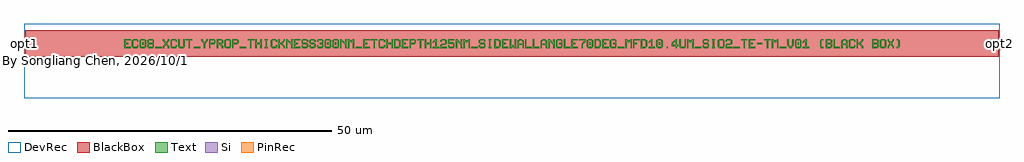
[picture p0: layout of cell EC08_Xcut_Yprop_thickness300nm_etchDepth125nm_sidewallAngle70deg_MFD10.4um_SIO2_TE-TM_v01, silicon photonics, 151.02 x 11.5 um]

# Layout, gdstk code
import gdstk
lib = gdstk.Library(unit=1e-6, precision=1e-10)
def R(c, l, rs):  # rectangles x0, y0, x1, y1
    for r in rs: c.add(gdstk.rectangle(r[:2], r[2:], *l))
def A(c, l, x, y, w, h, nx, ny, dx, dy):  # array of equal rectangles
    R(c, l, [(x+i*dx, y+j*dy, x+i*dx+w, y+j*dy+h) for i in range(nx) for j in range(ny)])
def P(c, l, *ps):  # polygons
    for p in ps: c.add(gdstk.Polygon(p, *l))
Si = (1, 0)
PinRec = (1, 10)
Text = (10, 0)
DevRec = (68, 0)
BlackBox = (998, 0)

text = lib.new_cell('TEXT')
A(text, Text, 17.895, 0, 0.994, 0.199, 3, 1, 17.895, 0)
R(text, Text, [(4.772,0,5.766,0.199), (10.737,0,11.731,0.199), (76.352,0,77.346,0.199), (83.908,0,84.106,0.199), (88.282,0,89.276,0.199), (94.247,0,95.241,0.199), (101.405,0,102.399,0.199), (2.784,0.497,2.982,0.895), (31.416,0.497,31.614,0.895), (32.609,0.497,32.807,0.895), (71.978,0.497,72.176,0.895), (82.715,0.497,82.913,0.895), (104.189,0.497,104.387,0.895), (97.925,0.596,98.721,0.795)])
P(text, Text, [(59.65,0),(59.65,1.392),(59.849,1.392),(59.849,0.298),(59.948,0.298),(60.147,0.497),(60.346,0.298),(60.445,0.298),(60.445,1.392),(60.644,1.392),(60.644,0),(60.346,0),(60.147,0.199),(59.948,0)],
  [(60.843,0),(60.843,1.093),(61.141,1.392),(61.539,1.392),(61.738,1.193),(61.241,1.193),(61.042,0.994),(61.042,0.696),(61.638,0.696),(61.638,0.994),(61.439,1.193),(61.738,1.193),(61.837,1.093),(61.837,0),(61.638,0),(61.638,0.497),(61.042,0.497),(61.042,0)],
  [(62.036,0),(62.036,1.392),(62.235,1.392),(62.235,0.199),(63.03,0.199),(63.03,0)],
  [(63.229,0),(63.229,1.392),(63.428,1.392),(63.428,0.199),(64.223,0.199),(64.223,0)],
  [(64.422,0),(64.422,1.093),(64.72,1.392),(65.118,1.392),(65.317,1.193),(64.82,1.193),(64.621,0.994),(64.621,0.696),(65.217,0.696),(65.217,0.994),(65.018,1.193),(65.317,1.193),(65.416,1.093),(65.416,0),(65.217,0),(65.217,0.497),(64.621,0.497),(64.621,0)],
  [(65.615,0),(65.615,1.392),(65.814,1.392),(66.311,0.895),(66.41,0.895),(66.41,1.392),(66.609,1.392),(66.609,0),(66.41,0),(66.41,0.497),(65.913,0.994),(65.814,0.994),(65.814,0)],
  [(67.007,0),(66.808,0.199),(66.808,1.193),(67.007,1.392),(67.603,1.392),(67.802,1.193),(67.802,0.994),(67.603,0.994),(67.603,1.093),(67.504,1.193),(67.106,1.193),(67.007,1.093),(67.007,0.298),(67.106,0.199),(67.504,0.199),(67.603,0.298),(67.603,0.596),(67.305,0.596),(67.305,0.795),(67.802,0.795),(67.802,0.199),(67.603,0)],
  [(68.001,0),(68.001,1.392),(68.2,1.392),(68.2,0.199),(68.995,0.199),(68.995,0)],
  [(69.194,0),(69.194,1.392),(70.188,1.392),(70.188,1.193),(69.393,1.193),(69.393,0.795),(69.79,0.795),(69.79,0.596),(69.393,0.596),(69.393,0.199),(70.188,0.199),(70.188,0)],
  [(70.785,0),(70.785,0.696),(71.182,1.093),(71.182,1.193),(70.387,1.193),(70.387,1.392),(71.381,1.392),(71.381,0.994),(70.983,0.596),(70.983,0)],
  [(71.779,0),(71.58,0.199),(71.58,1.193),(71.779,1.392),(72.375,1.392),(72.574,1.193),(71.878,1.193),(71.779,1.093),(71.779,0.298),(71.878,0.199),(72.276,0.199),(72.375,0.298),(72.375,1.093),(72.276,1.193),(72.574,1.193),(72.574,0.199),(72.375,0)],
  [(72.773,0),(72.773,1.392),(73.469,1.392),(73.668,1.193),(72.972,1.193),(72.972,0.199),(73.369,0.199),(73.568,0.398),(73.568,0.994),(73.369,1.193),(73.668,1.193),(73.767,1.093),(73.767,0.298),(73.469,0)],
  [(73.966,0),(73.966,1.392),(74.96,1.392),(74.96,1.193),(74.165,1.193),(74.165,0.795),(74.562,0.795),(74.562,0.596),(74.165,0.596),(74.165,0.199),(74.96,0.199),(74.96,0)],
  [(75.358,0),(75.159,0.199),(75.159,1.193),(75.358,1.392),(75.954,1.392),(76.153,1.193),(76.153,0.994),(75.954,0.994),(75.954,1.093),(75.855,1.193),(75.457,1.193),(75.358,1.093),(75.358,0.298),(75.457,0.199),(75.855,0.199),(75.954,0.298),(75.954,0.596),(75.656,0.596),(75.656,0.795),(76.153,0.795),(76.153,0.199),(75.954,0)],
  [(77.545,0),(77.545,1.392),(77.744,1.392),(77.943,1.193),(78.141,1.193),(78.34,1.392),(78.539,1.392),(78.539,0),(78.34,0),(78.34,0.994),(78.241,0.994),(78.042,0.795),(77.843,0.994),(77.744,0.994),(77.744,0)],
  [(78.738,0),(78.738,1.392),(79.732,1.392),(79.732,1.193),(78.937,1.193),(78.937,0.795),(79.334,0.795),(79.334,0.596),(78.937,0.596),(78.937,0)],
  [(79.931,0),(79.931,1.392),(80.627,1.392),(80.826,1.193),(80.13,1.193),(80.13,0.199),(80.527,0.199),(80.726,0.398),(80.726,0.994),(80.527,1.193),(80.826,1.193),(80.925,1.093),(80.925,0.298),(80.627,0)],
  [(81.124,0),(81.124,0.199),(81.522,0.199),(81.522,0.994),(81.422,0.994),(81.223,0.795),(81.124,0.795),(81.124,0.994),(81.522,1.392),(81.72,1.392),(81.72,0.199),(82.118,0.199),(82.118,0)],
  [(82.516,0),(82.317,0.199),(82.317,1.193),(82.516,1.392),(83.112,1.392),(83.311,1.193),(82.615,1.193),(82.516,1.093),(82.516,0.298),(82.615,0.199),(83.013,0.199),(83.112,0.298),(83.112,1.093),(83.013,1.193),(83.311,1.193),(83.311,0.199),(83.112,0)],
  [(85.299,0),(85.299,0.298),(84.703,0.298),(84.703,0.497),(85.299,0.497),(85.299,0.994),(85.2,0.994),(84.902,0.696),(84.902,0.497),(84.703,0.497),(84.703,0.795),(85.299,1.392),(85.498,1.392),(85.498,0.497),(85.697,0.497),(85.697,0.298),(85.498,0.298),(85.498,0)],
  [(86.095,0),(85.896,0.199),(85.896,1.392),(86.095,1.392),(86.095,0.298),(86.194,0.199),(86.592,0.199),(86.691,0.298),(86.691,1.392),(86.89,1.392),(86.89,0.199),(86.691,0)],
  [(87.089,0),(87.089,1.392),(87.288,1.392),(87.487,1.193),(87.685,1.193),(87.884,1.392),(88.083,1.392),(88.083,0),(87.884,0),(87.884,0.994),(87.785,0.994),(87.586,0.795),(87.387,0.994),(87.288,0.994),(87.288,0)],
  [(89.674,0),(89.475,0.199),(89.475,0.398),(89.674,0.398),(89.674,0.298),(89.773,0.199),(90.171,0.199),(90.27,0.298),(90.27,0.497),(90.171,0.596),(89.674,0.596),(89.475,0.795),(89.475,1.193),(89.674,1.392),(90.27,1.392),(90.469,1.193),(90.469,0.994),(90.27,0.994),(90.27,1.093),(90.171,1.193),(89.773,1.193),(89.674,1.093),(89.674,0.895),(89.773,0.795),(90.27,0.795),(90.469,0.596),(90.469,0.199),(90.27,0)],
  [(90.966,0),(90.966,0.199),(91.066,0.199),(91.066,1.193),(90.966,1.193),(90.966,1.392),(91.364,1.392),(91.364,1.193),(91.264,1.193),(91.264,0.199),(91.364,0.199),(91.364,0)],
  [(92.06,0),(91.861,0.199),(91.861,1.193),(92.06,1.392),(92.656,1.392),(92.855,1.193),(92.855,0.696),(92.656,0.696),(92.656,1.093),(92.557,1.193),(92.159,1.193),(92.06,1.093),(92.06,0.298),(92.159,0.199),(92.557,0.199),(92.656,0.298),(92.656,0.696),(92.855,0.696),(92.855,0.199),(92.656,0)],
  [(93.054,0),(93.054,0.497),(93.253,0.696),(93.75,0.696),(93.849,0.795),(93.849,1.093),(93.75,1.193),(93.352,1.193),(93.253,1.093),(93.253,0.994),(93.054,0.994),(93.054,1.193),(93.253,1.392),(93.849,1.392),(94.048,1.193),(94.048,0.696),(93.849,0.497),(93.352,0.497),(93.253,0.398),(93.253,0.199),(94.048,0.199),(94.048,0)],
  [(95.838,0),(95.838,1.193),(95.44,1.193),(95.44,1.392),(96.434,1.392),(96.434,1.193),(96.036,1.193),(96.036,0)],
  [(96.633,0),(96.633,1.392),(97.627,1.392),(97.627,1.193),(96.832,1.193),(96.832,0.795),(97.229,0.795),(97.229,0.596),(96.832,0.596),(96.832,0.199),(97.627,0.199),(97.627,0)],
  [(99.417,0),(99.417,1.193),(99.019,1.193),(99.019,1.392),(100.013,1.392),(100.013,1.193),(99.615,1.193),(99.615,0)],
  [(100.212,0),(100.212,1.392),(100.411,1.392),(100.61,1.193),(100.808,1.193),(101.007,1.392),(101.206,1.392),(101.206,0),(101.007,0),(101.007,0.994),(100.908,0.994),(100.709,0.795),(100.51,0.994),(100.411,0.994),(100.411,0)],
  [(102.996,0),(102.598,0.398),(102.598,1.392),(102.797,1.392),(102.797,0.497),(103.095,0.199),(103.393,0.497),(103.393,1.392),(103.592,1.392),(103.592,0.398),(103.194,0)],
  [(103.99,0),(103.791,0.199),(103.791,1.193),(103.99,1.392),(104.586,1.392),(104.785,1.193),(104.089,1.193),(103.99,1.093),(103.99,0.298),(104.089,0.199),(104.487,0.199),(104.586,0.298),(104.586,1.093),(104.487,1.193),(104.785,1.193),(104.785,0.199),(104.586,0)],
  [(104.984,0),(104.984,0.199),(105.382,0.199),(105.382,0.994),(105.282,0.994),(105.083,0.795),(104.984,0.795),(104.984,0.994),(105.382,1.392),(105.58,1.392),(105.58,0.199),(105.978,0.199),(105.978,0)],
  [(107.867,0),(107.668,0.199),(107.668,1.193),(107.867,1.392),(108.165,1.392),(108.165,1.193),(107.966,1.193),(107.867,1.093),(107.867,0.298),(107.966,0.199),(108.165,0.199),(108.165,0)],
  [(108.563,0),(108.563,1.392),(109.358,1.392),(109.557,1.193),(108.762,1.193),(108.762,0.795),(109.259,0.795),(109.358,0.895),(109.358,1.093),(109.259,1.193),(109.557,1.193),(109.557,0.795),(109.458,0.696),(109.557,0.596),(108.762,0.596),(108.762,0.199),(109.259,0.199),(109.358,0.298),(109.358,0.497),(109.259,0.596),(109.557,0.596),(109.557,0.199),(109.358,0)],
  [(109.756,0),(109.756,1.392),(109.955,1.392),(109.955,0.199),(110.75,0.199),(110.75,0)],
  [(110.949,0),(110.949,1.093),(111.247,1.392),(111.645,1.392),(111.844,1.193),(111.347,1.193),(111.148,0.994),(111.148,0.696),(111.744,0.696),(111.744,0.994),(111.545,1.193),(111.844,1.193),(111.943,1.093),(111.943,0),(111.744,0),(111.744,0.497),(111.148,0.497),(111.148,0)],
  [(112.341,0),(112.142,0.199),(112.142,1.193),(112.341,1.392),(112.937,1.392),(113.136,1.193),(113.136,0.994),(112.937,0.994),(112.937,1.093),(112.838,1.193),(112.44,1.193),(112.341,1.093),(112.341,0.298),(112.44,0.199),(112.838,0.199),(112.937,0.298),(112.937,0.398),(113.136,0.398),(113.136,0.199),(112.937,0)],
  [(113.335,0),(113.335,1.392),(113.534,1.392),(113.534,0.795),(113.733,0.795),(114.13,1.193),(114.13,1.392),(114.329,1.392),(114.329,1.093),(113.931,0.696),(114.329,0.298),(114.329,0),(114.13,0),(114.13,0.199),(113.733,0.596),(113.534,0.596),(113.534,0)],
  [(115.721,0),(115.721,1.392),(116.516,1.392),(116.715,1.193),(115.92,1.193),(115.92,0.795),(116.417,0.795),(116.516,0.895),(116.516,1.093),(116.417,1.193),(116.715,1.193),(116.715,0.795),(116.616,0.696),(116.715,0.596),(115.92,0.596),(115.92,0.199),(116.417,0.199),(116.516,0.298),(116.516,0.497),(116.417,0.596),(116.715,0.596),(116.715,0.199),(116.516,0)],
  [(117.113,0),(116.914,0.199),(116.914,1.193),(117.113,1.392),(117.709,1.392),(117.908,1.193),(117.908,0.696),(117.709,0.696),(117.709,1.093),(117.61,1.193),(117.212,1.193),(117.113,1.093),(117.113,0.298),(117.212,0.199),(117.61,0.199),(117.709,0.298),(117.709,0.696),(117.908,0.696),(117.908,0.199),(117.709,0)],
  [(118.107,0),(118.107,0.298),(118.405,0.596),(118.405,0.795),(118.107,1.093),(118.107,1.392),(118.306,1.392),(118.306,1.193),(118.604,0.895),(118.902,1.193),(118.902,1.392),(119.101,1.392),(119.101,1.093),(118.803,0.795),(118.803,0.596),(119.101,0.298),(119.101,0),(118.902,0),(118.902,0.199),(118.604,0.497),(118.306,0.199),(118.306,0)],
  [(119.499,0),(119.499,0.199),(119.698,0.199),(119.797,0.298),(119.797,1.093),(119.698,1.193),(119.499,1.193),(119.499,1.392),(119.797,1.392),(119.996,1.193),(119.996,0.199),(119.797,0)],
  [(58.457,0),(58.457,1.392),(59.451,1.392),(59.451,1.193),(58.656,1.193),(58.656,0.795),(59.053,0.795),(59.053,0.596),(58.656,0.596),(58.656,0.199),(59.451,0.199),(59.451,0)],
  [(0,0),(0,1.392),(0.994,1.392),(0.994,1.193),(0.199,1.193),(0.199,0.795),(0.596,0.795),(0.596,0.596),(0.199,0.596),(0.199,0.199),(0.994,0.199),(0.994,0)],
  [(1.392,0),(1.193,0.199),(1.193,1.193),(1.392,1.392),(1.988,1.392),(2.187,1.193),(2.187,0.994),(1.988,0.994),(1.988,1.093),(1.889,1.193),(1.491,1.193),(1.392,1.093),(1.392,0.298),(1.491,0.199),(1.889,0.199),(1.988,0.298),(1.988,0.398),(2.187,0.398),(2.187,0.199),(1.988,0)],
  [(2.585,0),(2.386,0.199),(2.386,1.193),(2.585,1.392),(3.181,1.392),(3.38,1.193),(2.684,1.193),(2.585,1.093),(2.585,0.298),(2.684,0.199),(3.082,0.199),(3.181,0.298),(3.181,1.093),(3.082,1.193),(3.38,1.193),(3.38,0.199),(3.181,0)],
  [(3.778,0),(3.579,0.199),(3.579,0.596),(3.678,0.696),(3.579,0.795),(3.579,1.193),(3.778,1.392),(4.374,1.392),(4.573,1.193),(3.877,1.193),(3.778,1.093),(3.778,0.895),(3.877,0.795),(4.275,0.795),(4.374,0.895),(4.374,1.093),(4.275,1.193),(4.573,1.193),(4.573,0.795),(4.474,0.696),(4.573,0.596),(3.877,0.596),(3.778,0.497),(3.778,0.298),(3.877,0.199),(4.275,0.199),(4.374,0.298),(4.374,0.497),(4.275,0.596),(4.573,0.596),(4.573,0.199),(4.374,0)],
  [(5.965,0),(5.965,0.298),(6.263,0.596),(6.263,0.795),(5.965,1.093),(5.965,1.392),(6.164,1.392),(6.164,1.193),(6.462,0.895),(6.76,1.193),(6.76,1.392),(6.959,1.392),(6.959,1.093),(6.661,0.795),(6.661,0.596),(6.959,0.298),(6.959,0),(6.76,0),(6.76,0.199),(6.462,0.497),(6.164,0.199),(6.164,0)],
  [(7.357,0),(7.158,0.199),(7.158,1.193),(7.357,1.392),(7.953,1.392),(8.152,1.193),(8.152,0.994),(7.953,0.994),(7.953,1.093),(7.854,1.193),(7.456,1.193),(7.357,1.093),(7.357,0.298),(7.456,0.199),(7.854,0.199),(7.953,0.298),(7.953,0.398),(8.152,0.398),(8.152,0.199),(7.953,0)],
  [(8.55,0),(8.351,0.199),(8.351,1.392),(8.55,1.392),(8.55,0.298),(8.649,0.199),(9.047,0.199),(9.146,0.298),(9.146,1.392),(9.345,1.392),(9.345,0.199),(9.146,0)],
  [(9.942,0),(9.942,1.193),(9.544,1.193),(9.544,1.392),(10.538,1.392),(10.538,1.193),(10.14,1.193),(10.14,0)],
  [(12.328,0),(12.328,0.696),(11.93,1.093),(11.93,1.392),(12.129,1.392),(12.129,1.193),(12.427,0.895),(12.725,1.193),(12.725,1.392),(12.924,1.392),(12.924,1.093),(12.526,0.696),(12.526,0)],
  [(13.123,0),(13.123,1.392),(13.918,1.392),(14.117,1.193),(14.117,0.795),(13.918,0.596),(13.322,0.596),(13.322,0.795),(13.819,0.795),(13.918,0.895),(13.918,1.093),(13.819,1.193),(13.322,1.193),(13.322,0)],
  [(14.316,0),(14.316,1.392),(15.111,1.392),(15.31,1.193),(14.515,1.193),(14.515,0.795),(15.012,0.795),(15.111,0.895),(15.111,1.093),(15.012,1.193),(15.31,1.193),(15.31,0.795),(15.111,0.596),(15.111,0.497),(15.31,0.298),(15.31,0),(15.111,0),(15.111,0.199),(14.714,0.596),(14.515,0.596),(14.515,0)],
  [(15.708,0),(15.509,0.199),(15.509,1.193),(15.708,1.392),(16.304,1.392),(16.503,1.193),(16.503,0.696),(16.304,0.696),(16.304,1.093),(16.205,1.193),(15.807,1.193),(15.708,1.093),(15.708,0.298),(15.807,0.199),(16.205,0.199),(16.304,0.298),(16.304,0.696),(16.503,0.696),(16.503,0.199),(16.304,0)],
  [(16.702,0),(16.702,1.392),(17.497,1.392),(17.696,1.193),(17.696,0.795),(17.497,0.596),(16.901,0.596),(16.901,0.795),(17.398,0.795),(17.497,0.895),(17.497,1.093),(17.398,1.193),(16.901,1.193),(16.901,0)],
  [(19.486,0),(19.486,1.193),(19.088,1.193),(19.088,1.392),(20.082,1.392),(20.082,1.193),(19.684,1.193),(19.684,0)],
  [(20.281,0),(20.281,1.392),(20.48,1.392),(20.48,0.795),(21.076,0.795),(21.076,1.392),(21.275,1.392),(21.275,0),(21.076,0),(21.076,0.596),(20.48,0.596),(20.48,0)],
  [(21.772,0),(21.772,0.199),(21.872,0.199),(21.872,1.193),(21.772,1.193),(21.772,1.392),(22.17,1.392),(22.17,1.193),(22.07,1.193),(22.07,0.199),(22.17,0.199),(22.17,0)],
  [(22.866,0),(22.667,0.199),(22.667,1.193),(22.866,1.392),(23.462,1.392),(23.661,1.193),(23.661,0.994),(23.462,0.994),(23.462,1.093),(23.363,1.193),(22.965,1.193),(22.866,1.093),(22.866,0.298),(22.965,0.199),(23.363,0.199),(23.462,0.298),(23.462,0.398),(23.661,0.398),(23.661,0.199),(23.462,0)],
  [(23.86,0),(23.86,1.392),(24.059,1.392),(24.059,0.795),(24.258,0.795),(24.655,1.193),(24.655,1.392),(24.854,1.392),(24.854,1.093),(24.456,0.696),(24.854,0.298),(24.854,0),(24.655,0),(24.655,0.199),(24.258,0.596),(24.059,0.596),(24.059,0)],
  [(25.053,0),(25.053,1.392),(25.252,1.392),(25.749,0.895),(25.848,0.895),(25.848,1.392),(26.047,1.392),(26.047,0),(25.848,0),(25.848,0.497),(25.351,0.994),(25.252,0.994),(25.252,0)],
  [(26.246,0),(26.246,1.392),(27.24,1.392),(27.24,1.193),(26.445,1.193),(26.445,0.795),(26.842,0.795),(26.842,0.596),(26.445,0.596),(26.445,0.199),(27.24,0.199),(27.24,0)],
  [(27.638,0),(27.439,0.199),(27.439,0.398),(27.638,0.398),(27.638,0.298),(27.737,0.199),(28.135,0.199),(28.234,0.298),(28.234,0.497),(28.135,0.596),(27.638,0.596),(27.439,0.795),(27.439,1.193),(27.638,1.392),(28.234,1.392),(28.433,1.193),(28.433,0.994),(28.234,0.994),(28.234,1.093),(28.135,1.193),(27.737,1.193),(27.638,1.093),(27.638,0.895),(27.737,0.795),(28.234,0.795),(28.433,0.596),(28.433,0.199),(28.234,0)],
  [(28.831,0),(28.632,0.199),(28.632,0.398),(28.831,0.398),(28.831,0.298),(28.93,0.199),(29.328,0.199),(29.427,0.298),(29.427,0.497),(29.328,0.596),(28.831,0.596),(28.632,0.795),(28.632,1.193),(28.831,1.392),(29.427,1.392),(29.626,1.193),(29.626,0.994),(29.427,0.994),(29.427,1.093),(29.328,1.193),(28.93,1.193),(28.831,1.093),(28.831,0.895),(28.93,0.795),(29.427,0.795),(29.626,0.596),(29.626,0.199),(29.427,0)],
  [(30.024,0),(29.825,0.199),(29.825,0.398),(30.024,0.398),(30.024,0.298),(30.123,0.199),(30.521,0.199),(30.62,0.298),(30.62,0.497),(30.521,0.596),(30.223,0.596),(30.223,0.795),(30.521,0.795),(30.62,0.895),(30.62,1.093),(30.521,1.193),(30.123,1.193),(30.024,1.093),(30.024,0.994),(29.825,0.994),(29.825,1.193),(30.024,1.392),(30.62,1.392),(30.819,1.193),(30.819,0.795),(30.72,0.696),(30.819,0.596),(30.819,0.199),(30.62,0)],
  [(31.217,0),(31.018,0.199),(31.018,1.193),(31.217,1.392),(31.813,1.392),(32.012,1.193),(31.316,1.193),(31.217,1.093),(31.217,0.298),(31.316,0.199),(31.714,0.199),(31.813,0.298),(31.813,1.093),(31.714,1.193),(32.012,1.193),(32.012,0.199),(31.813,0)],
  [(32.41,0),(32.211,0.199),(32.211,1.193),(32.41,1.392),(33.006,1.392),(33.205,1.193),(32.509,1.193),(32.41,1.093),(32.41,0.298),(32.509,0.199),(32.907,0.199),(33.006,0.298),(33.006,1.093),(32.907,1.193),(33.205,1.193),(33.205,0.199),(33.006,0)],
  [(33.404,0),(33.404,1.392),(33.603,1.392),(34.1,0.895),(34.199,0.895),(34.199,1.392),(34.398,1.392),(34.398,0),(34.199,0),(34.199,0.497),(33.702,0.994),(33.603,0.994),(33.603,0)],
  [(34.597,0),(34.597,1.392),(34.796,1.392),(34.995,1.193),(35.193,1.193),(35.392,1.392),(35.591,1.392),(35.591,0),(35.392,0),(35.392,0.994),(35.293,0.994),(35.094,0.795),(34.895,0.994),(34.796,0.994),(34.796,0)],
  [(36.983,0),(36.983,1.392),(37.977,1.392),(37.977,1.193),(37.182,1.193),(37.182,0.795),(37.579,0.795),(37.579,0.596),(37.182,0.596),(37.182,0.199),(37.977,0.199),(37.977,0)],
  [(38.574,0),(38.574,1.193),(38.176,1.193),(38.176,1.392),(39.17,1.392),(39.17,1.193),(38.772,1.193),(38.772,0)],
  [(39.568,0),(39.369,0.199),(39.369,1.193),(39.568,1.392),(40.164,1.392),(40.363,1.193),(40.363,0.994),(40.164,0.994),(40.164,1.093),(40.065,1.193),(39.667,1.193),(39.568,1.093),(39.568,0.298),(39.667,0.199),(40.065,0.199),(40.164,0.298),(40.164,0.398),(40.363,0.398),(40.363,0.199),(40.164,0)],
  [(40.562,0),(40.562,1.392),(40.761,1.392),(40.761,0.795),(41.357,0.795),(41.357,1.392),(41.556,1.392),(41.556,0),(41.357,0),(41.357,0.596),(40.761,0.596),(40.761,0)],
  [(41.755,0),(41.755,1.392),(42.451,1.392),(42.65,1.193),(41.954,1.193),(41.954,0.199),(42.351,0.199),(42.55,0.398),(42.55,0.994),(42.351,1.193),(42.65,1.193),(42.749,1.093),(42.749,0.298),(42.451,0)],
  [(42.948,0),(42.948,1.392),(43.942,1.392),(43.942,1.193),(43.147,1.193),(43.147,0.795),(43.544,0.795),(43.544,0.596),(43.147,0.596),(43.147,0.199),(43.942,0.199),(43.942,0)],
  [(44.141,0),(44.141,1.392),(44.936,1.392),(45.135,1.193),(45.135,0.795),(44.936,0.596),(44.34,0.596),(44.34,0.795),(44.837,0.795),(44.936,0.895),(44.936,1.093),(44.837,1.193),(44.34,1.193),(44.34,0)],
  [(45.732,0),(45.732,1.193),(45.334,1.193),(45.334,1.392),(46.328,1.392),(46.328,1.193),(45.93,1.193),(45.93,0)],
  [(46.527,0),(46.527,1.392),(46.726,1.392),(46.726,0.795),(47.322,0.795),(47.322,1.392),(47.521,1.392),(47.521,0),(47.322,0),(47.322,0.596),(46.726,0.596),(46.726,0)],
  [(47.72,0),(47.72,0.199),(48.118,0.199),(48.118,0.994),(48.018,0.994),(47.819,0.795),(47.72,0.795),(47.72,0.994),(48.118,1.392),(48.316,1.392),(48.316,0.199),(48.714,0.199),(48.714,0)],
  [(48.913,0),(48.913,0.497),(49.112,0.696),(49.609,0.696),(49.708,0.795),(49.708,1.093),(49.609,1.193),(49.211,1.193),(49.112,1.093),(49.112,0.994),(48.913,0.994),(48.913,1.193),(49.112,1.392),(49.708,1.392),(49.907,1.193),(49.907,0.696),(49.708,0.497),(49.211,0.497),(49.112,0.398),(49.112,0.199),(49.907,0.199),(49.907,0)],
  [(50.305,0),(50.106,0.199),(50.106,0.398),(50.305,0.398),(50.305,0.298),(50.404,0.199),(50.802,0.199),(50.901,0.298),(50.901,0.596),(50.802,0.696),(50.106,0.696),(50.106,1.392),(51.1,1.392),(51.1,1.193),(50.305,1.193),(50.305,0.895),(50.901,0.895),(51.1,0.696),(51.1,0.199),(50.901,0)],
  [(51.299,0),(51.299,1.392),(51.498,1.392),(51.995,0.895),(52.094,0.895),(52.094,1.392),(52.293,1.392),(52.293,0),(52.094,0),(52.094,0.497),(51.597,0.994),(51.498,0.994),(51.498,0)],
  [(52.492,0),(52.492,1.392),(52.691,1.392),(52.89,1.193),(53.088,1.193),(53.287,1.392),(53.486,1.392),(53.486,0),(53.287,0),(53.287,0.994),(53.188,0.994),(52.989,0.795),(52.79,0.994),(52.691,0.994),(52.691,0)],
  [(55.077,0),(54.878,0.199),(54.878,0.398),(55.077,0.398),(55.077,0.298),(55.176,0.199),(55.574,0.199),(55.673,0.298),(55.673,0.497),(55.574,0.596),(55.077,0.596),(54.878,0.795),(54.878,1.193),(55.077,1.392),(55.673,1.392),(55.872,1.193),(55.872,0.994),(55.673,0.994),(55.673,1.093),(55.574,1.193),(55.176,1.193),(55.077,1.093),(55.077,0.895),(55.176,0.795),(55.673,0.795),(55.872,0.596),(55.872,0.199),(55.673,0)],
  [(56.369,0),(56.369,0.199),(56.469,0.199),(56.469,1.193),(56.369,1.193),(56.369,1.392),(56.767,1.392),(56.767,1.193),(56.667,1.193),(56.667,0.199),(56.767,0.199),(56.767,0)],
  [(57.264,0),(57.264,1.392),(57.96,1.392),(58.159,1.193),(57.463,1.193),(57.463,0.199),(57.86,0.199),(58.059,0.398),(58.059,0.994),(57.86,1.193),(58.159,1.193),(58.258,1.093),(58.258,0.298),(57.96,0)])

ec08_xcut_yprop_thicknes = lib.new_cell('EC08_Xcut_Yprop_thickness300nm_etchDepth125nm_sidewallAngle70deg_MFD10.4um_SIO2_TE-TM_v01')
R(ec08_xcut_yprop_thicknes, Si, [(-75.5,-1.625,-75.3,1.625), (75.3,-1,75.5,1)])
R(ec08_xcut_yprop_thicknes, DevRec, [(-75.5,-8.45,75.5,3.05)])
R(ec08_xcut_yprop_thicknes, BlackBox, [(-75.3,-2.05,75.3,2.05)])
ec08_xcut_yprop_thicknes.add(gdstk.FlexPath([(-75.49,0),(-75.51,0)], 3.25, ends="flush", simple_path=True, layer=1, datatype=10))  # PinRec
ec08_xcut_yprop_thicknes.add(gdstk.FlexPath([(75.49,0),(75.51,0)], 2, ends="flush", simple_path=True, layer=1, datatype=10))  # PinRec
ec08_xcut_yprop_thicknes.add(gdstk.Reference(text, (-59.998,-0.696)))
ec08_xcut_yprop_thicknes.add(gdstk.Label('By Songliang Chen, 2026/10/13', (-75,-2.55), layer=10, texttype=0))
ec08_xcut_yprop_thicknes.add(gdstk.Label('opt1', (-75.5,0), layer=1, texttype=10))
ec08_xcut_yprop_thicknes.add(gdstk.Label('opt2', (75.5,0), layer=1, texttype=10))

lib.write_gds('EC08_Xcut_Yprop_thickness300nm_etchDepth125nm_sidewallAngle70deg_MFD10.4um_SIO2_TE-TM_v01.gds')
